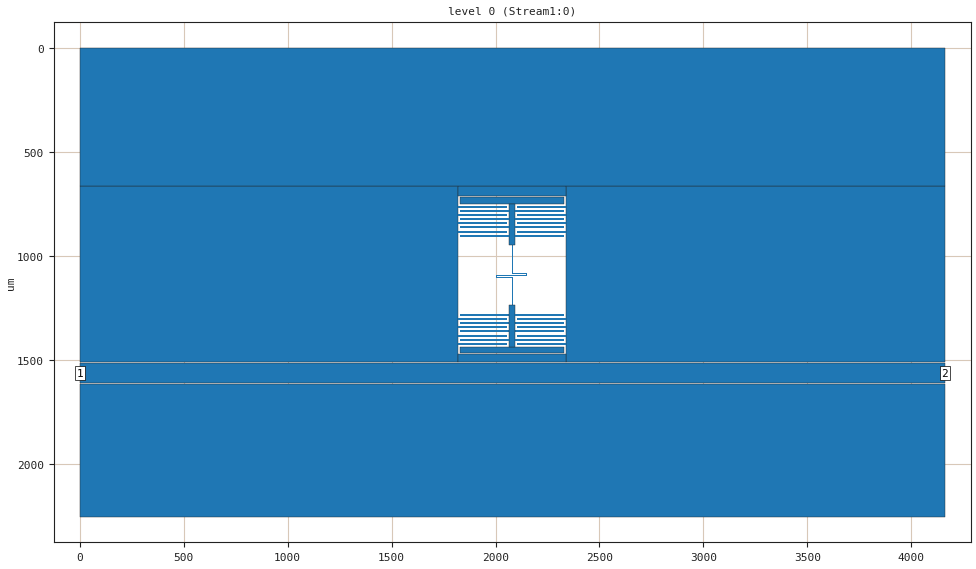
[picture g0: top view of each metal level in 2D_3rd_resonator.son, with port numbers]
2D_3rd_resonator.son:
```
FTYP SONPROJ 19 ! Sonnet Project File
VER 18.56
HEADER
LIC infn2.1.84251
DAT 05/08/2026 17:18:24
BUILT_BY_CREATED gds 18.56 05/08/2026 14:48:19
BUILT_BY_SAVED sonnet 18.56
MDATE 05/08/2026 17:18:24
HDATE 05/08/2026 17:18:24
END HEADER
DIM
ANG DEG
CAP PF
CON /OH
FREQ GHZ
IND NH
LNG UM
RES OH
END DIM
CONTROL
VARSWP
OPTIONS  -d
SPEED 0
CACHE_ABS 2
Q_ACC Y
DET_ABS_RES Y
END CONTROL
GEO
TMET "Lossless" 0 SUP 0 0 0 0
BMET "Lossless" 0 SUP 0 0 0 0
MET "Unknown_metal" 1 SUP 0 0 0 "Lk"
BOX 1 4160 2252.5 3328 1802 20 0
      1000 1 1 0 0 0 0 "Vacuum"
      500 11.9 1 0.004 0 0.00044 0 "Silicon (intrinsic)"
TECHLAY METAL Stream1:0 <UNSPECIFIED> 1 0 
0 0 0 N 60 1 1 100 100 0 0 0 Y
END
END
VALVAR Lk NONE 0 ""
LORGN 0 2252.5 U 
POR1 BOX
POLY 2 1
0
1 50 0 0 0 0 1562.5 
POR1 BOX
POLY 2 1
2
2 50 0 0 0 4160 1562.5 
NUM 50
0 5 0 N 1 1 1 100 100 0 0 0 Y
TLAYNAM Stream1:0 INH
2340 1507.5
2340 662.5
4160 662.5
4160 1507.5
2340 1507.5
END
0 5 0 N 2 1 1 100 100 0 0 0 Y
TLAYNAM Stream1:0 INH
0 1612.5
0 1512.5
4160 1512.5
4160 1612.5
0 1612.5
END
0 5 0 N 3 1 1 100 100 0 0 0 Y
TLAYNAM Stream1:0 INH
0 1507.5
0 662.5
1820 662.5
1820 1507.5
0 1507.5
END
0 5 0 N 4 1 1 100 100 0 0 0 Y
TLAYNAM Stream1:0 INH
1830 1287.5
1830 1277.5
2065 1277.5
2065 1287.5
1830 1287.5
END
0 5 0 N 5 1 1 100 100 0 0 0 Y
TLAYNAM Stream1:0 INH
2105 1307.5
2105 1297.5
2340 1297.5
2340 1307.5
2105 1307.5
END
0 5 0 N 6 1 1 100 100 0 0 0 Y
TLAYNAM Stream1:0 INH
1820 1307.5
1820 1297.5
2055 1297.5
2055 1307.5
1820 1307.5
END
0 5 0 N 7 1 1 100 100 0 0 0 Y
TLAYNAM Stream1:0 INH
2095 1327.5
2095 1317.5
2330 1317.5
2330 1327.5
2095 1327.5
END
0 5 0 N 8 1 1 100 100 0 0 0 Y
TLAYNAM Stream1:0 INH
1830 1327.5
1830 1317.5
2065 1317.5
2065 1327.5
1830 1327.5
END
0 5 0 N 9 1 1 100 100 0 0 0 Y
TLAYNAM Stream1:0 INH
2105 1347.5
2105 1337.5
2340 1337.5
2340 1347.5
2105 1347.5
END
0 5 0 N 10 1 1 100 100 0 0 0 Y
TLAYNAM Stream1:0 INH
1820 1347.5
1820 1337.5
2055 1337.5
2055 1347.5
1820 1347.5
END
0 5 0 N 11 1 1 100 100 0 0 0 Y
TLAYNAM Stream1:0 INH
2095 1367.5
2095 1357.5
2330 1357.5
2330 1367.5
2095 1367.5
END
0 5 0 N 12 1 1 100 100 0 0 0 Y
TLAYNAM Stream1:0 INH
1830 1367.5
1830 1357.5
2065 1357.5
2065 1367.5
1830 1367.5
END
0 5 0 N 13 1 1 100 100 0 0 0 Y
TLAYNAM Stream1:0 INH
2105 1387.5
2105 1377.5
2340 1377.5
2340 1387.5
2105 1387.5
END
0 5 0 N 14 1 1 100 100 0 0 0 Y
TLAYNAM Stream1:0 INH
1820 1387.5
1820 1377.5
2055 1377.5
2055 1387.5
1820 1387.5
END
0 5 0 N 15 1 1 100 100 0 0 0 Y
TLAYNAM Stream1:0 INH
1820 1507.5
1820 1472.5
2340 1472.5
2340 1507.5
1820 1507.5
END
0 5 0 N 16 1 1 100 100 0 0 0 Y
TLAYNAM Stream1:0 INH
2002 1095.5
2002 1090.5
2152 1090.5
2152 1095.5
2002 1095.5
END
0 5 0 N 17 1 1 100 100 0 0 0 Y
TLAYNAM Stream1:0 INH
2147 1090.5
2147 1085.5
2152 1085.5
2152 1090.5
2147 1090.5
END
0 5 0 N 18 1 1 100 100 0 0 0 Y
TLAYNAM Stream1:0 INH
2077 1085.5
2077 1080.5
2152 1080.5
2152 1085.5
2077 1085.5
END
0 5 0 N 19 1 1 100 100 0 0 0 Y
TLAYNAM Stream1:0 INH
2002 1100.5
2002 1095.5
2007 1095.5
2007 1100.5
2002 1100.5
END
0 5 0 N 20 1 1 100 100 0 0 0 Y
TLAYNAM Stream1:0 INH
2002 1105.5
2002 1100.5
2078 1100.5
2078 1105.5
2002 1105.5
END
0 5 0 N 21 1 1 100 100 0 0 0 Y
TLAYNAM Stream1:0 INH
2077 1080.5
2077 947.5
2082 947.5
2082 1080.5
2077 1080.5
END
0 5 0 N 22 1 1 100 100 0 0 0 Y
TLAYNAM Stream1:0 INH
2078 1237.5
2078 1100.5
2083 1100.5
2083 1237.5
2078 1237.5
END
0 5 0 N 23 1 1 100 100 0 0 0 Y
TLAYNAM Stream1:0 INH
1820 712.5
1820 662.5
2340 662.5
2340 712.5
1820 712.5
END
0 5 0 N 24 1 1 100 100 0 0 0 Y
TLAYNAM Stream1:0 INH
1830 747.5
1830 717.5
2330 717.5
2330 747.5
1830 747.5
END
0 5 0 N 25 1 1 100 100 0 0 0 Y
TLAYNAM Stream1:0 INH
2065 947.5
2065 747.5
2095 747.5
2095 947.5
2065 947.5
END
0 5 0 N 26 1 1 100 100 0 0 0 Y
TLAYNAM Stream1:0 INH
1820 767.5
1820 757.5
2055 757.5
2055 767.5
1820 767.5
END
0 5 0 N 27 1 1 100 100 0 0 0 Y
TLAYNAM Stream1:0 INH
1830 787.5
1830 777.5
2065 777.5
2065 787.5
1830 787.5
END
0 5 0 N 28 1 1 100 100 0 0 0 Y
TLAYNAM Stream1:0 INH
2105 767.5
2105 757.5
2340 757.5
2340 767.5
2105 767.5
END
0 5 0 N 29 1 1 100 100 0 0 0 Y
TLAYNAM Stream1:0 INH
2095 787.5
2095 777.5
2330 777.5
2330 787.5
2095 787.5
END
0 5 0 N 30 1 1 100 100 0 0 0 Y
TLAYNAM Stream1:0 INH
1830 1467.5
1830 1437.5
2330 1437.5
2330 1467.5
1830 1467.5
END
0 5 0 N 31 1 1 100 100 0 0 0 Y
TLAYNAM Stream1:0 INH
2065 1437.5
2065 1237.5
2095 1237.5
2095 1437.5
2065 1437.5
END
0 5 0 N 32 1 1 100 100 0 0 0 Y
TLAYNAM Stream1:0 INH
1820 1427.5
1820 1417.5
2055 1417.5
2055 1427.5
1820 1427.5
END
0 5 0 N 33 1 1 100 100 0 0 0 Y
TLAYNAM Stream1:0 INH
1830 1407.5
1830 1397.5
2065 1397.5
2065 1407.5
1830 1407.5
END
0 5 0 N 34 1 1 100 100 0 0 0 Y
TLAYNAM Stream1:0 INH
2095 1407.5
2095 1397.5
2330 1397.5
2330 1407.5
2095 1407.5
END
0 5 0 N 35 1 1 100 100 0 0 0 Y
TLAYNAM Stream1:0 INH
2105 1427.5
2105 1417.5
2340 1417.5
2340 1427.5
2105 1427.5
END
0 5 0 N 36 1 1 100 100 0 0 0 Y
TLAYNAM Stream1:0 INH
2095 907.5
2095 897.5
2330 897.5
2330 907.5
2095 907.5
END
0 5 0 N 37 1 1 100 100 0 0 0 Y
TLAYNAM Stream1:0 INH
1830 907.5
1830 897.5
2065 897.5
2065 907.5
1830 907.5
END
0 5 0 N 38 1 1 100 100 0 0 0 Y
TLAYNAM Stream1:0 INH
2105 887.5
2105 877.5
2340 877.5
2340 887.5
2105 887.5
END
0 5 0 N 39 1 1 100 100 0 0 0 Y
TLAYNAM Stream1:0 INH
1820 887.5
1820 877.5
2055 877.5
2055 887.5
1820 887.5
END
0 5 0 N 40 1 1 100 100 0 0 0 Y
TLAYNAM Stream1:0 INH
2095 867.5
2095 857.5
2330 857.5
2330 867.5
2095 867.5
END
0 5 0 N 41 1 1 100 100 0 0 0 Y
TLAYNAM Stream1:0 INH
1830 867.5
1830 857.5
2065 857.5
2065 867.5
1830 867.5
END
0 5 0 N 42 1 1 100 100 0 0 0 Y
TLAYNAM Stream1:0 INH
2105 847.5
2105 837.5
2340 837.5
2340 847.5
2105 847.5
END
0 5 0 N 43 1 1 100 100 0 0 0 Y
TLAYNAM Stream1:0 INH
1820 847.5
1820 837.5
2055 837.5
2055 847.5
1820 847.5
END
0 5 0 N 44 1 1 100 100 0 0 0 Y
TLAYNAM Stream1:0 INH
2095 827.5
2095 817.5
2330 817.5
2330 827.5
2095 827.5
END
0 5 0 N 45 1 1 100 100 0 0 0 Y
TLAYNAM Stream1:0 INH
1830 827.5
1830 817.5
2065 817.5
2065 827.5
1830 827.5
END
0 5 0 N 46 1 1 100 100 0 0 0 Y
TLAYNAM Stream1:0 INH
2105 807.5
2105 797.5
2340 797.5
2340 807.5
2105 807.5
END
0 5 0 N 47 1 1 100 100 0 0 0 Y
TLAYNAM Stream1:0 INH
1820 807.5
1820 797.5
2055 797.5
2055 807.5
1820 807.5
END
0 5 0 N 48 1 1 100 100 0 0 0 Y
TLAYNAM Stream1:0 INH
2095 1287.5
2095 1277.5
2330 1277.5
2330 1287.5
2095 1287.5
END
0 5 0 N 49 1 1 100 100 0 0 0 Y
TLAYNAM Stream1:0 INH
0 2252.5
0 1617.5
4160 1617.5
4160 2252.5
0 2252.5
END
0 5 0 N 50 1 1 100 100 0 0 0 Y
TLAYNAM Stream1:0 INH
0 662.5
0 0
4160 0
4160 662.5
0 662.5
END
END GEO
OPT
MAX 0
END OPT
VARSWP
SWPVARS ON
ENABLED Y
FREQ Y AY ABS_ENTRY 6.0 10.0 -1 2000 
VAR Lk Y 14.0 18.0 0.5
END
END VARSWP
3DOPTIONS
GLOBAL 0.69
ALL 2 1
END 3DOPTIONS
```
